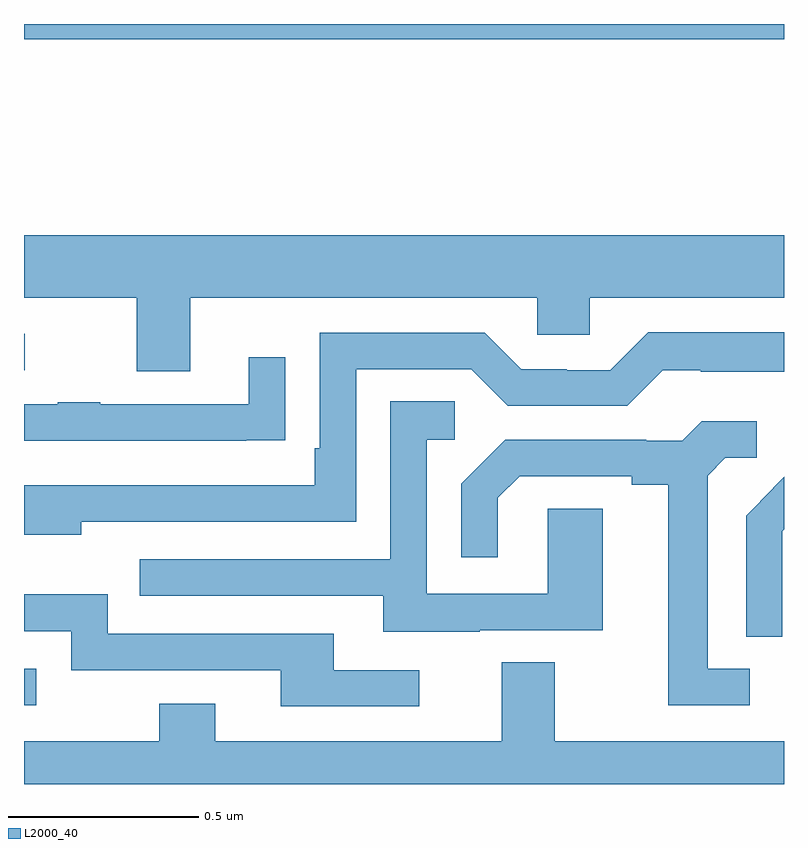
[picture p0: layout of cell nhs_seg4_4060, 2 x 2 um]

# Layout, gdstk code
import gdstk
lib = gdstk.Library(unit=1e-6, precision=1e-09)
def R(c, l, rs):  # rectangles x0, y0, x1, y1
    for r in rs: c.add(gdstk.rectangle(r[:2], r[2:], *l))
def P(c, l, *ps):  # polygons
    for p in ps: c.add(gdstk.Polygon(p, *l))
L2000_40 = (2000, 40)

nhs_seg4_4060 = lib.new_cell('nhs_seg4_4060')
R(nhs_seg4_4060, L2000_40, [(161,769.107,161.032,769.203), (161,769.989,161.002,770.085), (161,770.86,163,770.9)])
P(nhs_seg4_4060, L2000_40, [(161.437,770.18),(162.351,770.18),(162.351,770.082),(162.489,770.082),(162.489,770.18),(163,770.18),(163,770.344),(161,770.344),(161,770.18),(161.297,770.18),(161.297,769.986),(161.437,769.986)],
  [(161.15,769.59),(161.874,769.59),(161.874,769.992),(162.177,769.992),(162.273,769.896),(162.588,769.896),(162.681,769.989),(162.781,769.989),(162.781,769.985),(163,769.985),(163,770.089),(162.643,770.089),(162.543,769.989),(162.428,769.989),(162.428,769.992),(162.309,769.992),(162.213,770.088),(161.778,770.088),(161.778,769.783),(161.765,769.783),(161.765,769.686),(161,769.686),(161,769.556),(161.15,769.556)],
  [(161.585,769.804),(161.687,769.804),(161.687,770.023),(161.591,770.023),(161.591,769.899),(161.201,769.899),(161.201,769.904),(161.089,769.904),(161.089,769.899),(161,769.899),(161,769.803),(161.585,769.803)],
  [(162.199,769.305),(162.523,769.305),(162.523,769.625),(162.378,769.625),(162.378,769.401),(162.06,769.401),(162.06,769.806),(162.133,769.806),(162.133,769.907),(161.964,769.907),(161.964,769.491),(161.305,769.491),(161.305,769.395),(161.945,769.395),(161.945,769.301),(162.199,769.301)],
  [(162.91,769.203),(162.799,769.203),(162.799,769.711),(162.846,769.758),(162.928,769.758),(162.928,769.855),(162.784,769.855),(162.732,769.803),(162.638,769.803),(162.638,769.806),(162.266,769.806),(162.15,769.69),(162.15,769.497),(162.247,769.497),(162.247,769.653),(162.304,769.71),(162.599,769.71),(162.599,769.688),(162.695,769.688),(162.695,769.107),(162.91,769.107)],
  [(162.996,769.442),(162.995,769.442),(162.995,769.565),(163,769.57),(163,769.708),(162.972,769.68),(162.973,769.679),(162.9,769.606),(162.9,769.288),(162.996,769.288)],
  [(162.04,769.2),(161.815,769.2),(161.815,769.296),(161.22,769.296),(161.22,769.399),(161,769.399),(161,769.302),(161.124,769.302),(161.124,769.2),(161.675,769.2),(161.675,769.104),(162.04,769.104)],
  [(163,769.012),(162.397,769.012),(162.397,769.22),(162.257,769.22),(162.257,769.012),(161.503,769.012),(161.503,769.111),(161.356,769.111),(161.356,769.012),(161,769.012),(161,768.9),(163,768.9)])

lib.write_gds('nhs_seg4_4060.gds')
